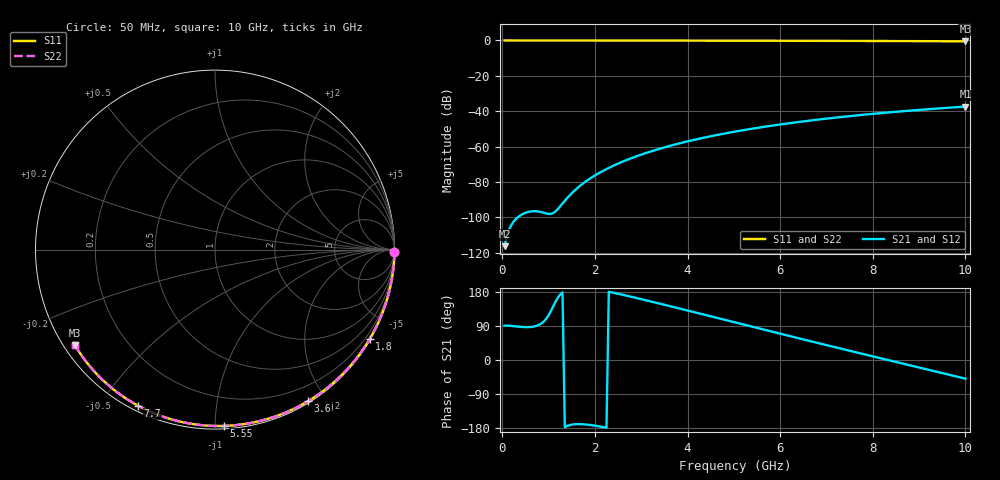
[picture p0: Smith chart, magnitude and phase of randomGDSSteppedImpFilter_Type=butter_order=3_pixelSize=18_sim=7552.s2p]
! freq	dB(S11)	phase(S11)	dB(S12)	phase(S12)
!  dB(S21)	phase(S21)	dB(S22)	phase(S22)
!S-par simulation data
#  GHz  S  DB  R 50
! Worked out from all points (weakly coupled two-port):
!   200 points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, 50 MHz to 10 GHz, reference 50 ohm
!   highest |S21| = -37.38 dB at 10 GHz (marker M1); lowest = -116.3 dB at 50 MHz (marker M2)
!   lowest |S11| = -0.5 dB at 10 GHz (marker M3), VSWR 35.15, Z = 1.56 - j15.4 ohm
!   |S11| at or under -10 dB: nowhere
!   |S22| runs from -0.5 to 0.0 dB; largest |S21 - S12| = 0
!   S11 on the Smith chart (normalised r, x): 50 MHz: open; 1.8 GHz: 0.03, -3.73; 3.6 GHz: 0.02, -1.78; 5.55 GHz: 0.02, -1.05; 7.7 GHz: 0.02, -0.62; 10 GHz: 0.03, -0.31
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0.05  -0.00 -0.9  -116.28 90.5  -116.28 90.5  -0.00 -0.8
0.45  -0.01 -7.6  -97.98 86.9  -97.98 86.9  -0.01 -7.6
0.9  -0.02 -15.2  -97.42 102.0  -97.42 102.0  -0.02 -15.2
1.3  -0.03 -21.8  -92.16 178.5  -92.16 178.5  -0.03 -21.8
1.75  -0.04 -29.2  -80.70 -169.6  -80.70 -169.6  -0.04 -29.2
1.8  -0.04 -30.0  -79.74 -170.1  -79.74 -170.1  -0.04 -30.0
1.95  -0.04 -32.5  -77.10 -172.4  -77.10 -172.4  -0.04 -32.5
2.1  -0.04 -34.9  -74.78 -175.3  -74.78 -175.3  -0.04 -34.9
2.3  -0.05 -38.1  -72.02 180.0  -72.02 180.0  -0.05 -38.1
2.5  -0.05 -41.3  -69.59 174.8  -69.59 174.8  -0.05 -41.3
2.9  -0.06 -47.7  -65.44 163.5  -65.44 163.5  -0.06 -47.7
3.4  -0.07 -55.5  -61.19 148.8  -61.19 148.8  -0.07 -55.5
3.6  -0.08 -58.5  -59.71 142.7  -59.71 142.7  -0.08 -58.5
4.3  -0.10 -69.1  -55.26 121.4  -55.26 121.4  -0.10 -69.1
5.05  -0.12 -80.1  -51.41 98.4  -51.41 98.4  -0.12 -80.1
5.55  -0.14 -87.2  -49.23 83.1  -49.23 83.1  -0.14 -87.2
6.1  -0.17 -94.8  -47.12 66.3  -47.12 66.3  -0.17 -94.8
6.7  -0.20 -103.0  -45.10 48.2  -45.10 48.2  -0.20 -103.0
7.7  -0.27 -116.2  -42.25 18.4  -42.25 18.4  -0.27 -116.2
8.35  -0.32 -124.6  -40.66 -0.8  -40.66 -0.8  -0.32 -124.6
9.2  -0.40 -135.5  -38.85 -25.7  -38.85 -25.7  -0.40 -135.5
10  -0.49 -145.8  -37.38 -49.3  -37.38 -49.3  -0.49 -145.8
